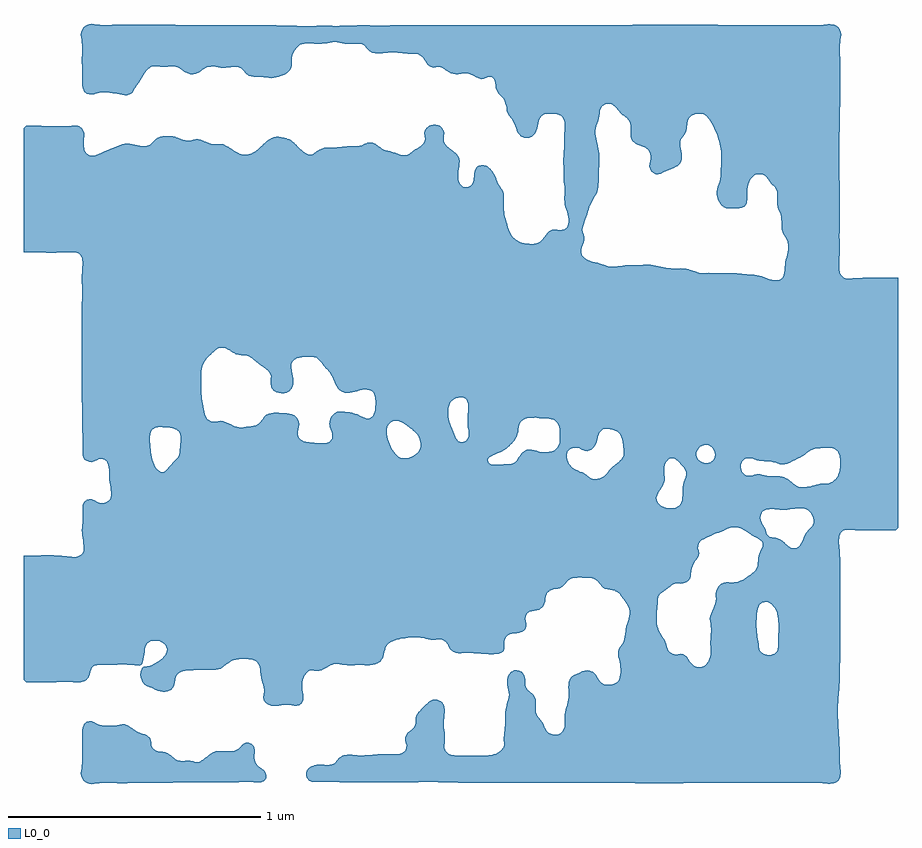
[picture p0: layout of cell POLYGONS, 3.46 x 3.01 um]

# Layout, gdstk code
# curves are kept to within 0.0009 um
import gdstk
lib = gdstk.Library(unit=1e-6, precision=1e-09)
def R(c, l, rs):  # rectangles x0, y0, x1, y1
    for r in rs: c.add(gdstk.rectangle(r[:2], r[2:], *l))
def P(c, l, *ps):  # polygons
    for p in ps: c.add(gdstk.Polygon(p, *l))
L0_0 = (0, 0)

polygons = lib.new_cell('POLYGONS')
R(polygons, L0_0, [(-1.31,-0.45,-1.128,-0.37), (-1.128,-0.45,-0.887,-0.37), (-0.887,-0.45,-0.67,-0.37), (-0.67,-0.45,-0.513,-0.37), (-0.513,-0.45,-0.33,-0.37), (-0.33,-0.45,-0.16,-0.37), (-0.16,-0.45,-0.01,-0.37), (-0.01,-0.45,0.169,-0.37), (0.169,-0.45,0.27,-0.37), (0.27,-0.45,0.41,-0.37), (0.41,-0.45,0.54,-0.37), (0.54,-0.45,0.68,-0.37), (-1.128,-0.37,-0.887,-0.22), (-0.887,-0.37,-0.67,-0.22), (-0.67,-0.37,-0.513,-0.22), (-0.513,-0.37,-0.33,-0.22), (-0.33,-0.37,-0.16,-0.22), (-0.16,-0.37,-0.01,-0.22), (0.27,-0.37,0.41,-0.2), (-0.33,-0.03,-0.16,0.6), (-1.31,0.1,-1.128,0.6)])
P(polygons, L0_0, [(-1.47,-1.502),(-1.46,-1.503),(-1.42,-1.499),(-1.32,-1.5),(-1.24,-1.498),(-1.14,-1.498),(-1.09,-1.496),(-0.92,-1.497),(-0.85,-1.494),(-0.8,-1.497),(-0.79,-1.496),(-0.78,-1.492),(-0.771,-1.48),(-0.77,-1.469),(-0.772,-1.46),(-0.778,-1.45),(-0.8,-1.434),(-0.812,-1.42),(-0.817,-1.4),(-0.816,-1.38),(-0.817,-1.36),(-0.823,-1.35),(-0.83,-1.344),(-0.84,-1.34),(-0.85,-1.339),(-0.86,-1.344),(-0.88,-1.363),(-0.89,-1.37),(-0.9,-1.373),(-0.97,-1.374),(-0.984,-1.38),(-1.02,-1.407),(-1.03,-1.413),(-1.04,-1.416),(-1.05,-1.416),(-1.07,-1.412),(-1.1,-1.413),(-1.12,-1.411),(-1.13,-1.406),(-1.148,-1.39),(-1.16,-1.382),(-1.17,-1.378),(-1.19,-1.375),(-1.21,-1.37),(-1.222,-1.36),(-1.226,-1.35),(-1.227,-1.33),(-1.231,-1.32),(-1.243,-1.31),(-1.28,-1.296),(-1.32,-1.27),(-1.33,-1.267),(-1.34,-1.267),(-1.37,-1.272),(-1.4,-1.273),(-1.43,-1.269),(-1.46,-1.255),(-1.47,-1.255),(-1.48,-1.257),(-1.49,-1.265),(-1.493,-1.27),(-1.498,-1.29),(-1.499,-1.42),(-1.503,-1.46),(-1.502,-1.47),(-1.499,-1.48),(-1.493,-1.49),(-1.48,-1.499)],
  [(-1.499,1.479),(-1.5,1.476),(-1.502,1.47),(-1.503,1.46),(-1.502,1.45),(-1.501,1.44),(-1.5,1.431),(-1.5,1.43),(-1.499,1.42),(-1.499,1.41),(-1.499,1.402)],
  [(-1.499,1.4),(-1.499,1.38),(-1.5,1.37),(-1.5,1.35),(-1.499,1.34),(-1.499,1.275)],
  [(-1.51,0.594),(-1.505,0.59),(-1.499,0.577),(-1.499,1.089),(-1.51,1.098),(-1.52,1.101),(-1.56,1.098),(-1.72,1.1),(-1.73,1.09),(-1.73,0.6),(-1.6,0.599),(-1.53,0.601),(-1.52,0.599)],
  [(-1.5,0.08),(-1.5,0.01),(-1.499,0),(-1.499,-0.048),(-1.499,0.523),(-1.499,0.52),(-1.5,0.51),(-1.5,0.48),(-1.499,0.47),(-1.499,0.41),(-1.5,0.4)],
  [(-1.499,-0.486),(-1.499,-0.49),(-1.5,-0.5),(-1.499,-0.51)],
  [(-1.51,-1.101),(-1.499,-1.099),(-1.499,-0.592),(-1.5,-0.594),(-1.51,-0.601),(-1.52,-0.605),(-1.53,-0.606),(-1.61,-0.599),(-1.73,-0.6),(-1.73,-1.09),(-1.72,-1.1),(-1.6,-1.1),(-1.56,-1.098)],
  [(-1.32,1.222),(-1.31,1.225),(-1.31,1.5),(-1.42,1.499),(-1.46,1.503),(-1.47,1.502),(-1.48,1.499),(-1.49,1.493),(-1.499,1.48),(-1.499,1.27),(-1.497,1.25),(-1.493,1.24),(-1.49,1.236),(-1.48,1.228),(-1.47,1.225),(-1.45,1.226),(-1.43,1.232),(-1.41,1.234),(-1.38,1.231),(-1.34,1.223)],
  [(-1.31,1.029),(-1.33,1.029),(-1.35,1.024),(-1.4,1.004),(-1.43,0.989),(-1.45,0.982),(-1.46,0.982),(-1.47,0.984),(-1.481,0.99),(-1.488,1),(-1.49,1.006),(-1.493,1.03),(-1.491,1.07),(-1.494,1.08),(-1.499,1.089),(-1.499,0.6),(-1.31,0.6)],
  [(-1.31,0.6),(-1.499,0.6),(-1.499,0.577),(-1.498,0.57),(-1.497,0.56),(-1.497,0.55),(-1.498,0.54),(-1.498,0.53),(-1.499,0.523),(-1.499,0.1),(-1.31,0.1)],
  [(-1.496,-0.16),(-1.497,-0.2),(-1.495,-0.21),(-1.488,-0.22),(-1.47,-0.229),(-1.46,-0.23),(-1.45,-0.227),(-1.43,-0.217),(-1.42,-0.216),(-1.41,-0.22),(-1.4,-0.229),(-1.395,-0.24),(-1.393,-0.25),(-1.392,-0.3),(-1.386,-0.33),(-1.383,-0.35),(-1.383,-0.36),(-1.385,-0.37),(-1.39,-0.379),(-1.4,-0.387),(-1.407,-0.39),(-1.42,-0.392),(-1.43,-0.391),(-1.45,-0.38),(-1.46,-0.377),(-1.47,-0.376),(-1.48,-0.379),(-1.49,-0.387),(-1.496,-0.4),(-1.497,-0.41),(-1.496,-0.46),(-1.499,-0.486),(-1.499,-0.51),(-1.492,-0.56),(-1.492,-0.57),(-1.493,-0.58),(-1.499,-0.592),(-1.499,-1.099),(-1.49,-1.096),(-1.481,-1.09),(-1.473,-1.08),(-1.46,-1.044),(-1.457,-1.04),(-1.45,-1.035),(-1.42,-1.031),(-1.35,-1.03),(-1.31,-1.031),(-1.31,0.1),(-1.499,0.1),(-1.499,-0.08)],
  [(-1.302,1.23),(-1.283,1.26),(-1.268,1.28),(-1.25,1.31),(-1.243,1.32),(-1.232,1.33),(-1.22,1.335),(-1.2,1.335),(-1.18,1.333),(-1.15,1.335),(-1.13,1.335),(-1.128,1.334),(-1.128,1.499),(-1.13,1.5),(-1.31,1.5),(-1.31,1.225)],
  [(-1.128,1.056),(-1.15,1.06),(-1.17,1.06),(-1.18,1.059),(-1.2,1.054),(-1.206,1.05),(-1.23,1.026),(-1.24,1.021),(-1.25,1.019),(-1.27,1.021),(-1.29,1.026),(-1.31,1.029),(-1.31,0.6),(-1.128,0.6)],
  [(-1.231,-0.13),(-1.23,-0.12),(-1.227,-0.11),(-1.221,-0.1),(-1.21,-0.093),(-1.19,-0.09),(-1.17,-0.091),(-1.14,-0.096),(-1.128,-0.1),(-1.128,0.1),(-1.31,0.1),(-1.31,-0.14),(-1.231,-0.14)],
  [(-1.128,-0.22),(-1.14,-0.232),(-1.16,-0.257),(-1.17,-0.266),(-1.18,-0.27),(-1.19,-0.268),(-1.2,-0.261),(-1.209,-0.25),(-1.222,-0.22),(-1.226,-0.2),(-1.231,-0.14),(-1.31,-0.14),(-1.31,-0.37),(-1.128,-0.37)],
  [(-1.16,-1.137),(-1.15,-1.133),(-1.14,-1.123),(-1.135,-1.11),(-1.128,-1.08),(-1.128,-0.45),(-1.31,-0.45),(-1.31,-1.031),(-1.27,-1.035),(-1.262,-1.03),(-1.258,-1.02),(-1.248,-0.96),(-1.24,-0.946),(-1.23,-0.939),(-1.21,-0.936),(-1.19,-0.939),(-1.18,-0.944),(-1.17,-0.952),(-1.165,-0.96),(-1.162,-0.97),(-1.164,-0.98),(-1.17,-0.993),(-1.175,-1),(-1.186,-1.01),(-1.21,-1.026),(-1.23,-1.035),(-1.254,-1.04),(-1.26,-1.043),(-1.267,-1.06),(-1.268,-1.07),(-1.26,-1.098),(-1.25,-1.11),(-1.24,-1.116),(-1.2,-1.134),(-1.18,-1.138)],
  [(-1.05,1.306),(-1.04,1.31),(-1.01,1.33),(-1,1.333),(-0.98,1.335),(-0.95,1.33),(-0.93,1.33),(-0.9,1.333),(-0.887,1.333),(-0.887,1.499),(-1.128,1.499),(-1.128,1.334),(-1.117,1.33),(-1.08,1.308),(-1.07,1.305),(-1.06,1.304)],
  [(-0.887,0.995),(-0.92,1.017),(-0.94,1.027),(-0.98,1.028),(-1,1.033),(-1.03,1.045),(-1.04,1.047),(-1.05,1.047),(-1.07,1.042),(-1.09,1.043),(-1.128,1.056),(-1.128,0.6),(-0.887,0.6)],
  [(-1.028,0.11),(-1.026,0.14),(-1.024,0.15),(-1.02,0.16),(-1.006,0.18),(-0.97,0.214),(-0.96,0.22),(-0.95,0.223),(-0.94,0.223),(-0.93,0.22),(-0.92,0.215),(-0.887,0.196),(-0.887,0.6),(-1.128,0.6),(-1.128,0.1),(-1.028,0.1)],
  [(-0.887,-0.09),(-0.9,-0.086),(-0.93,-0.072),(-0.94,-0.069),(-0.95,-0.067),(-0.97,-0.07),(-0.98,-0.07),(-0.99,-0.068),(-1.004,-0.06),(-1.01,-0.051),(-1.014,-0.04),(-1.019,-0.01),(-1.024,0.01),(-1.028,0.05),(-1.028,0.1),(-1.128,0.1),(-1.128,-0.1),(-1.114,-0.11),(-1.11,-0.119),(-1.108,-0.13),(-1.114,-0.2),(-1.118,-0.21),(-1.128,-0.22),(-0.887,-0.22)],
  [(-1.123,-1.07),(-1.11,-1.061),(-1.08,-1.054),(-1.05,-1.052),(-0.96,-1.05),(-0.95,-1.047),(-0.91,-1.018),(-0.887,-1.01),(-0.887,-0.45),(-1.128,-0.45),(-1.128,-1.078)],
  [(-0.741,1.29),(-0.71,1.298),(-0.7,1.303),(-0.688,1.31),(-0.678,1.32),(-0.672,1.33),(-0.67,1.34),(-0.67,1.497),(-0.72,1.497),(-0.78,1.499),(-0.887,1.499),(-0.887,1.333),(-0.88,1.332),(-0.87,1.328),(-0.842,1.3),(-0.83,1.296),(-0.81,1.294),(-0.79,1.294),(-0.75,1.289)],
  [(-0.67,1.041),(-0.68,1.047),(-0.7,1.054),(-0.72,1.058),(-0.73,1.058),(-0.74,1.056),(-0.76,1.046),(-0.779,1.03),(-0.8,1.009),(-0.81,1.001),(-0.83,0.99),(-0.84,0.987),(-0.86,0.985),(-0.87,0.987),(-0.887,0.995),(-0.887,0.6),(-0.67,0.6)],
  [(-0.7,0.043),(-0.69,0.045),(-0.681,0.05),(-0.67,0.061),(-0.67,0.137),(-0.672,0.15),(-0.67,0.162),(-0.67,0.6),(-0.887,0.6),(-0.887,0.196),(-0.87,0.192),(-0.85,0.192),(-0.84,0.189),(-0.82,0.176),(-0.773,0.14),(-0.761,0.13),(-0.754,0.12),(-0.751,0.11),(-0.753,0.08),(-0.75,0.067),(-0.746,0.06),(-0.74,0.053),(-0.73,0.047),(-0.71,0.042)],
  [(-0.67,-0.04),(-0.68,-0.038),(-0.72,-0.035),(-0.74,-0.035),(-0.76,-0.038),(-0.77,-0.042),(-0.778,-0.05),(-0.792,-0.07),(-0.8,-0.078),(-0.81,-0.084),(-0.82,-0.087),(-0.87,-0.093),(-0.887,-0.09),(-0.887,-0.22),(-0.67,-0.22)],
  [(-0.87,-1.008),(-0.86,-1.007),(-0.83,-1.01),(-0.82,-1.013),(-0.81,-1.018),(-0.8,-1.03),(-0.796,-1.04),(-0.794,-1.05),(-0.793,-1.07),(-0.79,-1.085),(-0.78,-1.12),(-0.779,-1.14),(-0.782,-1.16),(-0.78,-1.171),(-0.77,-1.184),(-0.76,-1.19),(-0.75,-1.193),(-0.74,-1.194),(-0.73,-1.194),(-0.69,-1.189),(-0.67,-1.192),(-0.67,-0.45),(-0.887,-0.45),(-0.887,-1.01)],
  [(-0.67,1.35),(-0.669,1.37),(-0.667,1.38),(-0.663,1.39),(-0.658,1.4),(-0.65,1.41),(-0.637,1.42),(-0.63,1.423),(-0.61,1.426),(-0.56,1.424),(-0.513,1.43),(-0.513,1.496),(-0.57,1.496),(-0.61,1.494),(-0.67,1.497)],
  [(-0.513,1.014),(-0.54,1.013),(-0.551,1.01),(-0.56,1.006),(-0.58,0.991),(-0.59,0.986),(-0.6,0.986),(-0.61,0.989),(-0.62,0.995),(-0.638,1.01),(-0.66,1.033),(-0.67,1.041),(-0.67,0.6),(-0.513,0.6)],
  [(-0.513,0.6),(-0.67,0.6),(-0.67,0.162),(-0.666,0.17),(-0.66,0.175),(-0.65,0.18),(-0.64,0.183),(-0.62,0.186),(-0.59,0.186),(-0.58,0.185),(-0.57,0.182),(-0.56,0.174),(-0.55,0.163),(-0.516,0.12),(-0.513,0.114)],
  [(-0.67,0.062),(-0.666,0.07),(-0.663,0.08),(-0.663,0.09),(-0.663,0.1),(-0.665,0.11),(-0.667,0.12),(-0.669,0.13),(-0.67,0.135),(-0.67,0.137),(-0.67,0.061)],
  [(-0.513,-0.142),(-0.519,-0.15),(-0.54,-0.156),(-0.56,-0.156),(-0.61,-0.151),(-0.62,-0.149),(-0.63,-0.144),(-0.636,-0.14),(-0.64,-0.135),(-0.643,-0.13),(-0.646,-0.12),(-0.646,-0.11),(-0.643,-0.1),(-0.64,-0.08),(-0.642,-0.07),(-0.65,-0.054),(-0.66,-0.045),(-0.67,-0.04),(-0.67,-0.22),(-0.513,-0.22)],
  [(-0.513,-0.05),(-0.517,-0.06),(-0.52,-0.069),(-0.52,-0.07),(-0.521,-0.08),(-0.52,-0.085),(-0.519,-0.09),(-0.516,-0.1),(-0.513,-0.106)],
  [(-0.65,-1.194),(-0.638,-1.19),(-0.63,-1.183),(-0.623,-1.17),(-0.623,-1.16),(-0.627,-1.13),(-0.627,-1.1),(-0.622,-1.08),(-0.617,-1.07),(-0.61,-1.062),(-0.6,-1.056),(-0.59,-1.054),(-0.56,-1.056),(-0.55,-1.053),(-0.54,-1.048),(-0.52,-1.035),(-0.513,-1.032),(-0.513,-0.45),(-0.67,-0.45),(-0.67,-1.192),(-0.66,-1.194)],
  [(-0.57,-1.495),(-0.513,-1.494),(-0.513,-1.426),(-0.53,-1.428),(-0.57,-1.427),(-0.59,-1.432),(-0.602,-1.44),(-0.61,-1.45),(-0.613,-1.46),(-0.612,-1.47),(-0.609,-1.48),(-0.6,-1.49),(-0.59,-1.494)],
  [(-0.33,1.497),(-0.39,1.499),(-0.49,1.495),(-0.513,1.496),(-0.513,1.43),(-0.5,1.432),(-0.46,1.425),(-0.4,1.425),(-0.39,1.422),(-0.38,1.416),(-0.36,1.395),(-0.35,1.389),(-0.34,1.387),(-0.33,1.387)],
  [(-0.33,1.022),(-0.342,1.03),(-0.35,1.033),(-0.36,1.034),(-0.37,1.033),(-0.39,1.024),(-0.41,1.02),(-0.45,1.019),(-0.5,1.014),(-0.513,1.014),(-0.513,0.6),(-0.33,0.6)],
  [(-0.35,-0.049),(-0.36,-0.056),(-0.37,-0.058),(-0.39,-0.051),(-0.41,-0.041),(-0.43,-0.035),(-0.47,-0.03),(-0.49,-0.031),(-0.5,-0.036),(-0.51,-0.046),(-0.513,-0.05),(-0.513,-0.106),(-0.509,-0.12),(-0.51,-0.136),(-0.513,-0.142),(-0.513,-0.22),(-0.33,-0.22),(-0.33,0.6),(-0.513,0.6),(-0.513,0.114),(-0.505,0.1),(-0.502,0.09),(-0.492,0.07),(-0.485,0.06),(-0.47,0.048),(-0.46,0.045),(-0.45,0.044),(-0.43,0.046),(-0.38,0.058),(-0.36,0.055),(-0.352,0.05),(-0.344,0.04),(-0.34,0.027),(-0.338,0.01),(-0.341,-0.03)],
  [(-0.36,-1.033),(-0.34,-1.03),(-0.33,-1.026),(-0.33,-0.45),(-0.513,-0.45),(-0.513,-1.032),(-0.5,-1.028),(-0.49,-1.028),(-0.45,-1.033),(-0.41,-1.032)],
  [(-0.34,-1.497),(-0.33,-1.497),(-0.33,-1.386),(-0.39,-1.391),(-0.43,-1.388),(-0.46,-1.389),(-0.47,-1.392),(-0.48,-1.399),(-0.5,-1.42),(-0.513,-1.426),(-0.513,-1.494),(-0.5,-1.494),(-0.47,-1.497)],
  [(-0.16,1.499),(-0.26,1.499),(-0.31,1.496),(-0.33,1.497),(-0.33,1.387),(-0.27,1.392),(-0.21,1.386),(-0.18,1.386),(-0.16,1.379)],
  [(-0.16,1.02),(-0.21,0.985),(-0.22,0.983),(-0.24,0.986),(-0.25,0.99),(-0.3,1.004),(-0.31,1.008),(-0.33,1.022),(-0.33,0.6),(-0.16,0.6)],
  [(-0.16,-0.03),(-0.33,-0.03),(-0.33,-0.11),(-0.294,-0.11),(-0.294,-0.1),(-0.292,-0.09),(-0.286,-0.08),(-0.28,-0.074),(-0.27,-0.068),(-0.26,-0.066),(-0.25,-0.067),(-0.23,-0.074),(-0.22,-0.08),(-0.193,-0.1),(-0.182,-0.11),(-0.168,-0.13),(-0.16,-0.156)],
  [(-0.16,-0.17),(-0.17,-0.19),(-0.18,-0.2),(-0.19,-0.206),(-0.2,-0.211),(-0.21,-0.214),(-0.22,-0.215),(-0.24,-0.212),(-0.25,-0.207),(-0.26,-0.197),(-0.277,-0.17),(-0.286,-0.15),(-0.292,-0.13),(-0.294,-0.11),(-0.33,-0.11),(-0.33,-0.22),(-0.16,-0.22)],
  [(-0.321,-1.02),(-0.31,-1.005),(-0.297,-0.96),(-0.29,-0.95),(-0.28,-0.942),(-0.26,-0.934),(-0.23,-0.927),(-0.19,-0.922),(-0.17,-0.922),(-0.16,-0.924),(-0.16,-0.45),(-0.33,-0.45),(-0.33,-1.026)],
  [(-0.32,-1.497),(-0.16,-1.495),(-0.16,-1.211),(-0.169,-1.22),(-0.175,-1.23),(-0.178,-1.24),(-0.18,-1.268),(-0.186,-1.28),(-0.21,-1.3),(-0.22,-1.319),(-0.221,-1.33),(-0.215,-1.35),(-0.216,-1.36),(-0.219,-1.37),(-0.23,-1.38),(-0.25,-1.385),(-0.33,-1.386),(-0.33,-1.497)],
  [(-0.01,1.304),(-0.01,1.499),(-0.16,1.499),(-0.16,1.378),(-0.15,1.37),(-0.13,1.34),(-0.12,1.333),(-0.11,1.33),(-0.09,1.333),(-0.08,1.332),(-0.07,1.328),(-0.043,1.31),(-0.02,1.304)],
  [(-0.01,0.896),(-0.01,0.979),(-0.02,0.991),(-0.056,1.02),(-0.064,1.03),(-0.068,1.04),(-0.069,1.05),(-0.067,1.07),(-0.07,1.083),(-0.074,1.09),(-0.08,1.097),(-0.09,1.103),(-0.1,1.105),(-0.11,1.105),(-0.12,1.102),(-0.13,1.097),(-0.14,1.086),(-0.143,1.08),(-0.145,1.07),(-0.142,1.05),(-0.144,1.04),(-0.149,1.03),(-0.16,1.02),(-0.16,0.6),(-0.01,0.6)],
  [(-0.051,-0.02),(-0.049,-0.01),(-0.04,0.009),(-0.025,0.02),(-0.01,0.025),(-0.01,0.6),(-0.16,0.6),(-0.16,-0.03),(-0.051,-0.03)],
  [(-0.01,-0.148),(-0.02,-0.136),(-0.043,-0.08),(-0.05,-0.051),(-0.051,-0.03),(-0.16,-0.03),(-0.16,-0.22),(-0.01,-0.22)],
  [(-0.01,-0.45),(-0.16,-0.45),(-0.16,-0.924),(-0.15,-0.925),(-0.12,-0.932),(-0.11,-0.933),(-0.09,-0.93),(-0.08,-0.931),(-0.07,-0.934),(-0.06,-0.941),(-0.053,-0.95),(-0.04,-0.972),(-0.03,-0.98),(-0.01,-0.985)],
  [(-0.01,-1.392),(-0.03,-1.39),(-0.05,-1.383),(-0.06,-1.374),(-0.062,-1.37),(-0.066,-1.36),(-0.064,-1.31),(-0.068,-1.28),(-0.069,-1.26),(-0.065,-1.21),(-0.068,-1.19),(-0.075,-1.18),(-0.08,-1.176),(-0.094,-1.17),(-0.11,-1.169),(-0.129,-1.18),(-0.16,-1.21),(-0.16,-1.495),(-0.1,-1.495),(-0.01,-1.498)],
  [(0.01,1.309),(0.02,1.309),(0.03,1.307),(0.047,1.3),(0.07,1.288),(0.08,1.285),(0.09,1.286),(0.11,1.294),(0.12,1.294),(0.13,1.286),(0.133,1.28),(0.136,1.27),(0.138,1.25),(0.141,1.24),(0.148,1.23),(0.167,1.21),(0.169,1.206),(0.169,1.499),(-0.01,1.499),(-0.01,1.304)],
  [(-0.01,0.92),(-0.009,0.93),(-0.007,0.94),(-0.006,0.95),(-0.005,0.96),(-0.006,0.97),(-0.01,0.979),(-0.01,0.917)],
  [(0.169,0.777),(0.169,0.83),(0.167,0.84),(0.162,0.85),(0.148,0.87),(0.135,0.9),(0.124,0.92),(0.116,0.93),(0.1,0.942),(0.09,0.945),(0.08,0.945),(0.066,0.94),(0.06,0.934),(0.055,0.92),(0.049,0.88),(0.045,0.87),(0.033,0.86),(0.02,0.857),(0.01,0.858),(0,0.865),(-0.008,0.88),(-0.01,0.896),(-0.01,0.6),(0.169,0.6)],
  [(0.01,0.025),(0.02,0.019),(0.025,0.01),(0.028,0),(0.026,-0.07),(0.027,-0.09),(0.031,-0.11),(0.031,-0.12),(0.03,-0.13),(0.02,-0.145),(0.01,-0.15),(0,-0.151),(-0.01,-0.148),(-0.01,-0.22),(0.105,-0.22),(0.112,-0.21),(0.131,-0.2),(0.15,-0.193),(0.169,-0.183),(0.169,0.6),(-0.01,0.6),(-0.01,0.025),(0,0.026)],
  [(0.169,-0.239),(0.14,-0.241),(0.12,-0.24),(0.107,-0.23),(0.105,-0.22),(-0.01,-0.22),(-0.01,-0.37),(0.169,-0.37)],
  [(0.14,-0.988),(0.15,-0.987),(0.16,-0.983),(0.165,-0.98),(0.169,-0.975),(0.169,-0.45),(-0.01,-0.45),(-0.01,-0.985),(0.04,-0.984),(0.11,-0.989)],
  [(0.169,-1.355),(0.168,-1.36),(0.16,-1.37),(0.15,-1.377),(0.14,-1.383),(0.12,-1.389),(0.09,-1.392),(-0.01,-1.392),(-0.01,-1.498),(0.169,-1.499)],
  [(0.27,1.054),(0.27,1.499),(0.169,1.499),(0.169,1.206),(0.173,1.2),(0.179,1.18),(0.181,1.16),(0.184,1.15),(0.19,1.14),(0.199,1.13),(0.21,1.111),(0.221,1.08),(0.227,1.07),(0.237,1.06),(0.25,1.054),(0.26,1.053)],
  [(0.169,0.8),(0.17,0.81),(0.17,0.81),(0.17,0.82),(0.17,0.821),(0.169,0.83),(0.169,0.793)],
  [(0.27,0.633),(0.26,0.634),(0.234,0.64),(0.216,0.65),(0.2,0.666),(0.19,0.686),(0.18,0.716),(0.172,0.75),(0.169,0.777),(0.169,0.6),(0.27,0.6)],
  [(0.17,-0.183),(0.187,-0.17),(0.2,-0.157),(0.214,-0.14),(0.22,-0.129),(0.226,-0.11),(0.23,-0.08),(0.236,-0.07),(0.24,-0.066),(0.25,-0.06),(0.27,-0.055),(0.27,0.6),(0.169,0.6),(0.169,-0.183)],
  [(0.229,-0.21),(0.22,-0.224),(0.21,-0.233),(0.2,-0.237),(0.169,-0.239),(0.169,-0.37),(0.27,-0.37),(0.27,-0.18),(0.26,-0.181),(0.25,-0.186),(0.24,-0.195)],
  [(0.17,-0.974),(0.172,-0.97),(0.171,-0.94),(0.174,-0.93),(0.18,-0.918),(0.19,-0.911),(0.2,-0.908),(0.22,-0.906),(0.24,-0.901),(0.25,-0.895),(0.254,-0.89),(0.258,-0.88),(0.258,-0.87),(0.254,-0.85),(0.256,-0.84),(0.261,-0.83),(0.27,-0.822),(0.27,-0.45),(0.169,-0.45),(0.169,-0.975)],
  [(0.27,-1.137),(0.263,-1.13),(0.257,-1.12),(0.252,-1.08),(0.249,-1.07),(0.24,-1.06),(0.23,-1.055),(0.22,-1.053),(0.21,-1.054),(0.198,-1.06),(0.19,-1.068),(0.184,-1.08),(0.182,-1.09),(0.182,-1.1),(0.184,-1.12),(0.187,-1.13),(0.19,-1.15),(0.18,-1.192),(0.175,-1.23),(0.175,-1.27),(0.17,-1.32),(0.171,-1.35),(0.169,-1.355),(0.169,-1.499),(0.27,-1.499)],
  [(0.28,1.058),(0.293,1.07),(0.298,1.08),(0.302,1.09),(0.308,1.12),(0.312,1.13),(0.32,1.14),(0.33,1.146),(0.34,1.148),(0.36,1.149),(0.37,1.148),(0.39,1.143),(0.396,1.14),(0.405,1.13),(0.41,1.114),(0.41,1.499),(0.27,1.499),(0.27,1.054)],
  [(0.41,1.08),(0.409,1.07),(0.409,1.03),(0.408,1.02),(0.408,1.01),(0.406,0.99),(0.406,0.98),(0.405,0.97),(0.405,0.95),(0.406,0.94),(0.406,0.9),(0.407,0.89),(0.407,0.88),(0.408,0.87),(0.41,0.86)],
  [(0.41,0.827),(0.409,0.82),(0.409,0.81),(0.41,0.8),(0.41,0.8)],
  [(0.41,0.692),(0.4,0.689),(0.39,0.688),(0.375,0.69),(0.36,0.689),(0.35,0.684),(0.34,0.674),(0.33,0.659),(0.311,0.64),(0.3,0.635),(0.29,0.633),(0.28,0.632),(0.27,0.633),(0.27,0.6),(0.41,0.6)],
  [(0.29,-0.055),(0.34,-0.057),(0.36,-0.061),(0.37,-0.065),(0.376,-0.07),(0.384,-0.08),(0.388,-0.09),(0.39,-0.1),(0.391,-0.12),(0.39,-0.151),(0.388,-0.16),(0.38,-0.174),(0.37,-0.182),(0.36,-0.187),(0.34,-0.19),(0.32,-0.19),(0.28,-0.18),(0.27,-0.18),(0.27,-0.2),(0.41,-0.2),(0.41,0.6),(0.27,0.6),(0.27,-0.055)],
  [(0.275,-0.82),(0.3,-0.816),(0.31,-0.813),(0.32,-0.806),(0.325,-0.8),(0.33,-0.79),(0.333,-0.78),(0.336,-0.76),(0.34,-0.749),(0.35,-0.739),(0.36,-0.734),(0.37,-0.731),(0.39,-0.729),(0.4,-0.723),(0.41,-0.713),(0.41,-0.45),(0.27,-0.45),(0.27,-0.822)],
  [(0.37,-1.499),(0.41,-1.499),(0.41,-1.277),(0.405,-1.29),(0.4,-1.297),(0.39,-1.304),(0.38,-1.308),(0.37,-1.309),(0.36,-1.307),(0.345,-1.3),(0.337,-1.29),(0.323,-1.26),(0.299,-1.23),(0.295,-1.22),(0.296,-1.17),(0.29,-1.156),(0.28,-1.145),(0.27,-1.137),(0.27,-1.499)],
  [(0.476,0.61),(0.487,0.65),(0.487,0.66),(0.48,0.69),(0.482,0.7),(0.496,0.74),(0.508,0.78),(0.53,0.821),(0.538,0.84),(0.54,0.848),(0.54,1.021),(0.531,1.07),(0.531,1.08),(0.535,1.1),(0.54,1.115),(0.54,1.499),(0.41,1.499),(0.41,0.797),(0.413,0.78),(0.423,0.75),(0.426,0.73),(0.425,0.71),(0.42,0.7),(0.41,0.692),(0.41,0.6),(0.476,0.6)],
  [(0.42,-0.19),(0.428,-0.18),(0.44,-0.175),(0.45,-0.174),(0.46,-0.174),(0.47,-0.176),(0.49,-0.185),(0.5,-0.186),(0.51,-0.183),(0.52,-0.177),(0.527,-0.17),(0.533,-0.16),(0.54,-0.135),(0.54,0.558),(0.53,0.56),(0.5,0.57),(0.49,0.576),(0.478,0.59),(0.476,0.6),(0.41,0.6),(0.41,-0.2),(0.418,-0.2)],
  [(0.54,-0.296),(0.53,-0.297),(0.52,-0.296),(0.508,-0.29),(0.49,-0.275),(0.48,-0.27),(0.45,-0.259),(0.44,-0.252),(0.429,-0.24),(0.424,-0.23),(0.42,-0.22),(0.418,-0.21),(0.418,-0.2),(0.41,-0.2),(0.41,-0.37),(0.54,-0.37)],
  [(0.41,-0.713),(0.422,-0.7),(0.43,-0.694),(0.44,-0.69),(0.47,-0.686),(0.51,-0.688),(0.52,-0.69),(0.53,-0.694),(0.54,-0.701),(0.54,-0.45),(0.41,-0.45)],
  [(0.41,-1.499),(0.54,-1.499),(0.54,-1.084),(0.53,-1.067),(0.522,-1.06),(0.51,-1.055),(0.5,-1.054),(0.49,-1.055),(0.45,-1.07),(0.44,-1.076),(0.436,-1.08),(0.43,-1.089),(0.427,-1.1),(0.425,-1.12),(0.427,-1.16),(0.41,-1.23),(0.411,-1.25),(0.41,-1.274)],
  [(0.545,1.13),(0.549,1.15),(0.549,1.16),(0.552,1.17),(0.559,1.18),(0.57,1.186),(0.58,1.188),(0.59,1.187),(0.6,1.184),(0.61,1.175),(0.632,1.15),(0.658,1.13),(0.666,1.12),(0.67,1.11),(0.672,1.1),(0.672,1.06),(0.674,1.05),(0.68,1.039),(0.68,1.5),(0.54,1.499),(0.54,1.115)],
  [(0.54,0.85),(0.542,0.86),(0.544,0.88),(0.545,0.93),(0.547,0.96),(0.547,0.98),(0.546,0.99),(0.54,1.021)],
  [(0.544,-0.12),(0.549,-0.11),(0.56,-0.1),(0.57,-0.098),(0.59,-0.099),(0.61,-0.105),(0.62,-0.11),(0.629,-0.12),(0.634,-0.13),(0.637,-0.14),(0.641,-0.16),(0.644,-0.2),(0.641,-0.21),(0.633,-0.22),(0.623,-0.23),(0.6,-0.249),(0.57,-0.282),(0.55,-0.294),(0.54,-0.296),(0.54,-0.37),(0.68,-0.37),(0.68,0.549),(0.66,0.549),(0.61,0.543),(0.59,0.543),(0.58,0.545),(0.54,0.558),(0.54,-0.135)],
  [(0.66,-0.862),(0.654,-0.88),(0.648,-0.92),(0.643,-0.94),(0.623,-0.97),(0.621,-0.98),(0.622,-1),(0.629,-1.03),(0.631,-1.05),(0.63,-1.071),(0.625,-1.09),(0.62,-1.098),(0.61,-1.105),(0.591,-1.11),(0.58,-1.111),(0.57,-1.11),(0.56,-1.106),(0.55,-1.098),(0.54,-1.084),(0.54,-1.499),(0.68,-1.499),(0.68,-0.45),(0.54,-0.45),(0.54,-0.701),(0.556,-0.72),(0.568,-0.73),(0.61,-0.739),(0.627,-0.75),(0.63,-0.754),(0.656,-0.79),(0.662,-0.8),(0.665,-0.81),(0.667,-0.82),(0.667,-0.83),(0.664,-0.85)],
  [(0.79,0.911),(0.855,0.94),(0.866,0.95),(0.872,0.96),(0.874,0.98),(0.867,1.03),(0.868,1.04),(0.872,1.05),(0.879,1.059),(0.879,1.5),(0.68,1.5),(0.68,1.039),(0.691,1.03),(0.73,1.013),(0.74,1.005),(0.744,1),(0.748,0.99),(0.75,0.98),(0.75,0.97),(0.745,0.94),(0.75,0.925),(0.753,0.92),(0.767,0.91),(0.78,0.909)],
  [(0.879,0.535),(0.87,0.536),(0.84,0.535),(0.81,0.538),(0.76,0.549),(0.74,0.551),(0.68,0.549),(0.68,-0.2),(0.879,-0.2)],
  [(0.776,-0.36),(0.794,-0.33),(0.803,-0.31),(0.805,-0.3),(0.803,-0.26),(0.806,-0.24),(0.81,-0.23),(0.82,-0.219),(0.83,-0.215),(0.84,-0.214),(0.85,-0.218),(0.863,-0.23),(0.879,-0.248),(0.879,-0.2),(0.68,-0.2),(0.68,-0.37),(0.773,-0.37)],
  [(0.879,-0.32),(0.877,-0.36),(0.875,-0.38),(0.872,-0.39),(0.865,-0.4),(0.85,-0.41),(0.83,-0.413),(0.81,-0.411),(0.79,-0.402),(0.78,-0.392),(0.774,-0.38),(0.773,-0.37),(0.68,-0.37),(0.68,-0.45),(0.879,-0.45)],
  [(0.775,-0.84),(0.775,-0.82),(0.779,-0.77),(0.781,-0.76),(0.788,-0.75),(0.84,-0.712),(0.85,-0.708),(0.86,-0.708),(0.87,-0.71),(0.879,-0.709),(0.879,-0.45),(0.68,-0.45),(0.68,-0.85),(0.774,-0.85)],
  [(0.76,-1.5),(0.879,-1.5),(0.879,-0.99),(0.87,-0.988),(0.85,-0.991),(0.84,-0.989),(0.824,-0.98),(0.82,-0.975),(0.817,-0.97),(0.812,-0.95),(0.808,-0.94),(0.79,-0.91),(0.777,-0.88),(0.775,-0.87),(0.774,-0.85),(0.68,-0.85),(0.68,-1.499)],
  [(1.016,1.5),(0.879,1.5),(0.879,1.059),(0.887,1.07),(0.891,1.08),(0.895,1.11),(0.897,1.12),(0.901,1.13),(0.91,1.14),(0.92,1.145),(0.93,1.148),(0.95,1.149),(0.96,1.146),(0.97,1.14),(0.98,1.129),(0.991,1.11),(1.011,1.07),(1.016,1.057)],
  [(1.016,0.86),(1.013,0.85),(1.012,0.84),(1.012,0.83),(1.014,0.82),(1.016,0.812)],
  [(0.89,-0.27),(0.89,-0.28),(0.888,-0.29),(0.881,-0.31),(0.879,-0.32),(0.879,-0.45),(1.016,-0.45),(1.016,0.518),(0.98,0.519),(0.95,0.518),(0.9,0.532),(0.879,0.535),(0.879,-0.2),(0.93,-0.2),(0.931,-0.19),(0.936,-0.18),(0.945,-0.17),(0.96,-0.163),(0.97,-0.162),(0.98,-0.164),(0.992,-0.17),(1,-0.18),(1.004,-0.19),(1.005,-0.2),(1.003,-0.21),(0.999,-0.22),(0.99,-0.229),(0.98,-0.233),(0.97,-0.234),(0.96,-0.232),(0.94,-0.222),(0.932,-0.21),(0.93,-0.2),(0.879,-0.2),(0.879,-0.248),(0.887,-0.26)],
  [(0.88,-0.709),(0.898,-0.7),(0.906,-0.69),(0.909,-0.68),(0.909,-0.67),(0.912,-0.65),(0.921,-0.63),(0.94,-0.6),(0.942,-0.59),(0.937,-0.57),(0.938,-0.56),(0.941,-0.55),(0.95,-0.539),(1,-0.516),(1.016,-0.51),(1.016,-0.45),(0.879,-0.45),(0.879,-0.709)],
  [(0.989,-0.89),(0.986,-0.94),(0.988,-0.97),(0.987,-0.99),(0.98,-1.016),(0.97,-1.031),(0.96,-1.038),(0.95,-1.041),(0.94,-1.042),(0.93,-1.04),(0.92,-1.035),(0.914,-1.03),(0.905,-1.02),(0.892,-1),(0.879,-0.99),(0.879,-1.5),(0.89,-1.499),(1.016,-1.499),(1.016,-0.727),(1.01,-0.74),(1.008,-0.75),(1.009,-0.77),(1.006,-0.79),(0.99,-0.827),(0.984,-0.85)],
  [(1.1,0.775),(1.11,0.777),(1.12,0.781),(1.128,0.79),(1.131,0.8),(1.132,0.81),(1.132,0.85),(1.137,0.87),(1.146,0.89),(1.16,0.904),(1.17,0.908),(1.184,0.909),(1.184,1.498),(1.016,1.5),(1.016,1.057),(1.024,1.03),(1.028,1.01),(1.03,0.99),(1.028,0.91),(1.023,0.88),(1.016,0.86),(1.016,0.81),(1.027,0.79),(1.04,0.779),(1.05,0.775),(1.06,0.774)],
  [(1.107,-0.24),(1.11,-0.229),(1.12,-0.218),(1.13,-0.214),(1.15,-0.215),(1.17,-0.222),(1.184,-0.225),(1.184,0.506),(1.17,0.51),(1.08,0.518),(1.05,0.517),(1.016,0.518),(1.016,-0.25),(1.106,-0.25)],
  [(1.184,-0.278),(1.17,-0.277),(1.15,-0.283),(1.14,-0.284),(1.13,-0.283),(1.12,-0.278),(1.112,-0.27),(1.108,-0.26),(1.106,-0.25),(1.016,-0.25),(1.016,-0.45),(1.184,-0.45)],
  [(1.184,-0.45),(1.016,-0.45),(1.016,-0.51),(1.04,-0.501),(1.06,-0.491),(1.07,-0.488),(1.08,-0.487),(1.09,-0.488),(1.1,-0.49),(1.122,-0.5),(1.15,-0.519),(1.184,-0.538)],
  [(1.168,-0.86),(1.169,-0.84),(1.173,-0.81),(1.177,-0.8),(1.184,-0.791),(1.184,-0.583),(1.177,-0.6),(1.173,-0.64),(1.17,-0.65),(1.163,-0.66),(1.152,-0.67),(1.12,-0.693),(1.11,-0.698),(1.09,-0.705),(1.07,-0.707),(1.06,-0.706),(1.04,-0.707),(1.03,-0.711),(1.02,-0.72),(1.016,-0.727),(1.016,-0.87),(1.168,-0.87)],
  [(1.02,-1.499),(1.184,-1.499),(1.184,-0.977),(1.18,-0.97),(1.178,-0.96),(1.178,-0.95),(1.169,-0.9),(1.168,-0.87),(1.016,-0.87),(1.016,-1.499)],
  [(1.28,-0.238),(1.29,-0.236),(1.31,-0.227),(1.31,1.498),(1.184,1.498),(1.184,0.909),(1.2,0.904),(1.21,0.896),(1.247,0.85),(1.25,0.84),(1.251,0.83),(1.25,0.8),(1.252,0.78),(1.255,0.77),(1.264,0.75),(1.266,0.74),(1.269,0.69),(1.272,0.68),(1.29,0.648),(1.293,0.64),(1.294,0.63),(1.293,0.6),(1.283,0.56),(1.277,0.51),(1.272,0.5),(1.26,0.491),(1.25,0.489),(1.24,0.489),(1.22,0.494),(1.19,0.505),(1.184,0.506),(1.184,-0.225),(1.23,-0.228),(1.26,-0.238),(1.27,-0.239)],
  [(1.185,-0.44),(1.19,-0.429),(1.2,-0.42),(1.21,-0.417),(1.23,-0.415),(1.28,-0.419),(1.31,-0.415),(1.31,-0.311),(1.309,-0.31),(1.29,-0.296),(1.27,-0.287),(1.26,-0.285),(1.22,-0.285),(1.184,-0.278),(1.184,-0.45)],
  [(1.31,-0.57),(1.3,-0.566),(1.29,-0.559),(1.27,-0.54),(1.26,-0.534),(1.22,-0.525),(1.214,-0.52),(1.21,-0.515),(1.201,-0.49),(1.189,-0.47),(1.184,-0.45),(1.184,-0.538),(1.188,-0.54),(1.193,-0.55),(1.193,-0.56),(1.191,-0.57),(1.184,-0.583),(1.184,-0.791),(1.19,-0.787),(1.2,-0.784),(1.21,-0.783),(1.23,-0.793),(1.24,-0.805),(1.248,-0.82),(1.255,-0.85),(1.256,-0.87),(1.255,-0.96),(1.253,-0.97),(1.248,-0.98),(1.24,-0.987),(1.23,-0.991),(1.22,-0.993),(1.202,-0.99),(1.19,-0.984),(1.184,-0.977),(1.184,-1.499),(1.31,-1.499)],
  [(1.32,-0.222),(1.344,-0.21),(1.36,-0.2),(1.371,-0.19),(1.38,-0.184),(1.4,-0.177),(1.44,-0.173),(1.47,-0.175),(1.483,-0.18),(1.49,-0.186),(1.493,-0.19),(1.498,-0.203),(1.498,0.524),(1.496,0.54),(1.496,0.57),(1.498,0.59),(1.497,0.66),(1.498,0.68),(1.498,0.88),(1.496,0.93),(1.496,1.03),(1.498,1.08),(1.498,1.482),(1.49,1.493),(1.48,1.499),(1.46,1.502),(1.41,1.498),(1.36,1.499),(1.31,1.498),(1.31,-0.227)],
  [(1.33,-0.413),(1.35,-0.412),(1.36,-0.414),(1.37,-0.418),(1.38,-0.426),(1.384,-0.43),(1.39,-0.44),(1.394,-0.45),(1.396,-0.46),(1.396,-0.47),(1.39,-0.483),(1.366,-0.51),(1.34,-0.561),(1.33,-0.569),(1.32,-0.571),(1.31,-0.57),(1.31,-1.499),(1.42,-1.499),(1.45,-1.502),(1.47,-1.501),(1.48,-1.498),(1.49,-1.492),(1.498,-1.481),(1.498,-1.36),(1.491,-1.24),(1.491,-1.19),(1.498,-1.1),(1.498,-0.577),(1.495,-0.55),(1.495,-0.54),(1.498,-0.519),(1.498,-0.262),(1.49,-0.287),(1.48,-0.3),(1.47,-0.307),(1.46,-0.312),(1.45,-0.315),(1.42,-0.316),(1.38,-0.327),(1.36,-0.33),(1.35,-0.33),(1.34,-0.329),(1.33,-0.326),(1.31,-0.311),(1.31,-0.415)],
  [(1.498,1.09),(1.498,1.11),(1.499,1.12),(1.499,1.17),(1.5,1.18),(1.5,1.37),(1.499,1.38),(1.499,1.42),(1.503,1.46),(1.502,1.47),(1.5,1.477),(1.499,1.48),(1.498,1.482)],
  [(1.498,0.69),(1.498,0.71),(1.499,0.72),(1.499,0.74),(1.498,0.75),(1.498,0.864)],
  [(1.498,0.6),(1.498,0.61),(1.498,0.62),(1.498,0.63),(1.498,0.64),(1.498,0.641),(1.498,0.598)],
  [(1.5,-0.514),(1.502,-0.51),(1.51,-0.502),(1.52,-0.498),(1.53,-0.497),(1.56,-0.499),(1.71,-0.499),(1.72,-0.5),(1.73,-0.49),(1.73,0.5),(1.59,0.499),(1.53,0.496),(1.514,0.5),(1.51,0.503),(1.503,0.51),(1.498,0.524),(1.498,-0.203),(1.501,-0.23),(1.5,-0.25),(1.498,-0.26),(1.498,-0.519)],
  [(1.498,-1.09),(1.498,-1.08),(1.499,-1.07),(1.499,-1.03),(1.5,-1.02),(1.5,-0.61),(1.499,-0.6),(1.499,-0.59),(1.498,-0.58),(1.498,-0.577)],
  [(1.498,-1.48),(1.5,-1.475),(1.501,-1.47),(1.502,-1.46),(1.502,-1.45),(1.501,-1.44),(1.5,-1.433),(1.5,-1.43),(1.498,-1.41),(1.498,-1.382)])

lib.write_gds('POLYGONS.gds')
